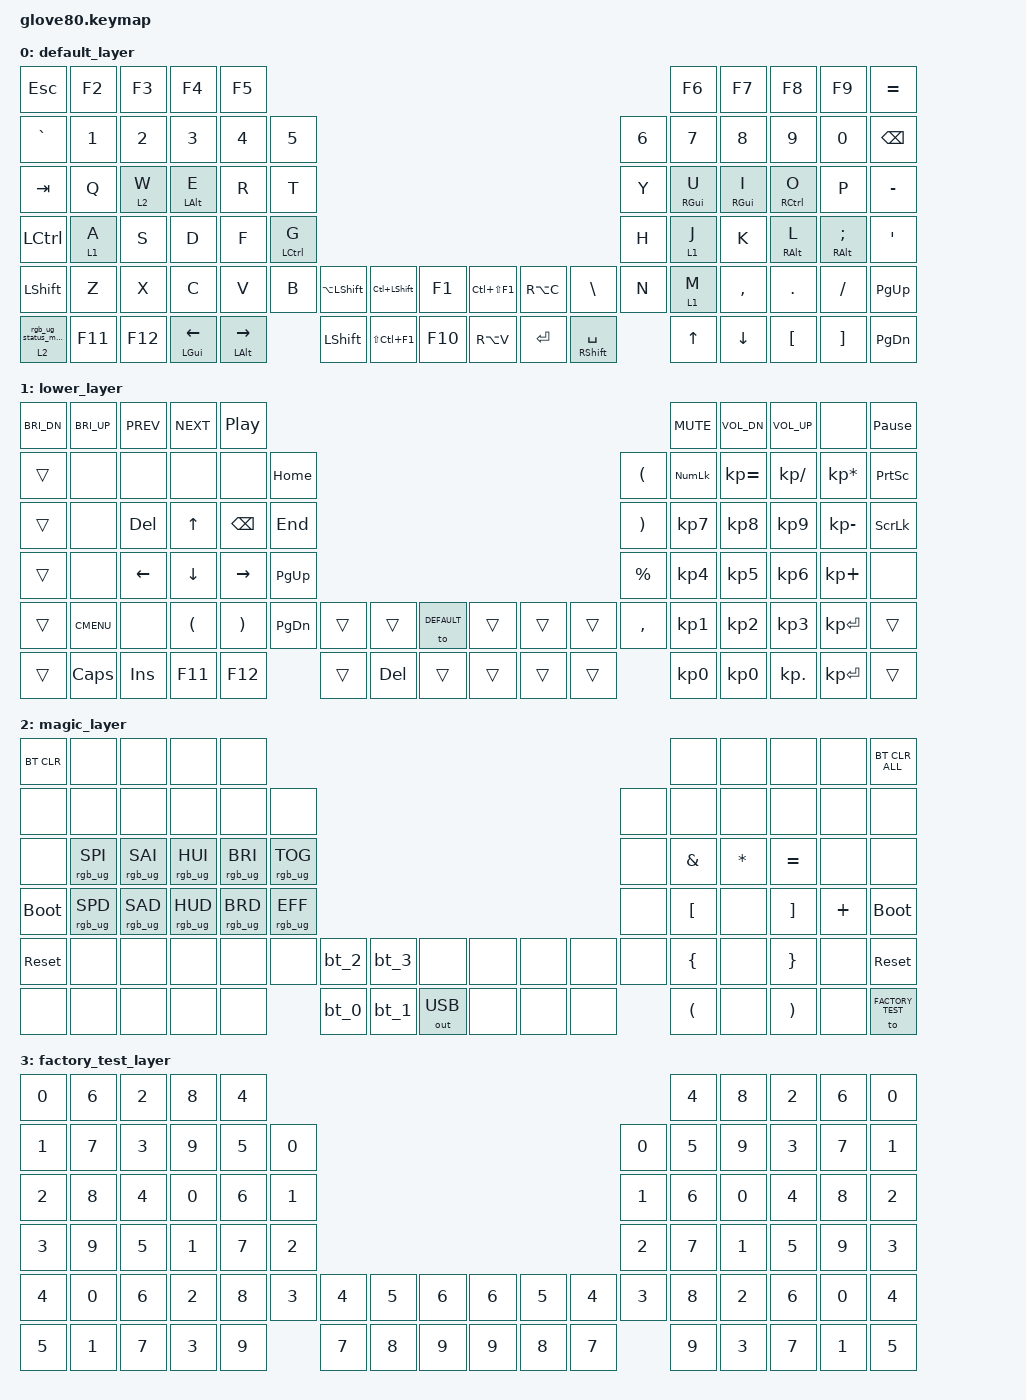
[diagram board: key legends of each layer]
/*
 * Copyright (c) 2020 The ZMK Contributors
 *
 * SPDX-License-Identifier: MIT
 */

#include <behaviors.dtsi>
#include <dt-bindings/zmk/bt.h>
#include <dt-bindings/zmk/keys.h>
#include <dt-bindings/zmk/outputs.h>
#include <dt-bindings/zmk/rgb.h>

#define HYPER LC(LS(LG(LALT)))

// layers

#define DEFAULT 0
#define LOWER 1
#define MAGIC 2
#define FACTORY_TEST 3

/ {
    behaviors {
        // For the "layer" key, it'd nice to be able to use it as either a shift or a toggle.
        // Configure it as a tap dance, so the first tap (or hold) is a &mo and the second tap is a &to

        layer_td: tap_dance_0 {
            compatible = "zmk,behavior-tap-dance";
            label = "LAYER_TAP_DANCE";
            #binding-cells = <0>;
            tapping-term-ms = <200>;
            bindings = <&mo LOWER>, <&to LOWER>;
        };

        magic: magic_hold_tap {
            compatible = "zmk,behavior-hold-tap";
            label = "MAGIC_HOLD_TAP";
            #binding-cells = <2>;
            flavor = "tap-preferred";
            tapping-term-ms = <200>;
            bindings = <&mo>, <&rgb_ug_status_macro>;
        };

        hm: hm {
            compatible = "zmk,behavior-hold-tap";
            label = "HM";
            bindings = <&kp>, <&kp>;

            #binding-cells = <2>;
            tapping-term-ms = <200>;
            flavor = "tap-preferred";
            quick-tap-ms = <175>;
        };
    };

    macros {
        rgb_ug_status_macro: rgb_ug_status_macro_0 {
            label = "RGB_UG_STATUS";
            compatible = "zmk,behavior-macro";
            #binding-cells = <0>;
            bindings = <&rgb_ug RGB_STATUS>;
        };

        bt_0: bt_profile_macro_0 {
            label = "BT_0";
            compatible = "zmk,behavior-macro";
            #binding-cells = <0>;
            bindings = <&out OUT_BLE &bt BT_SEL 0>;
        };

        bt_1: bt_profile_macro_1 {
            label = "BT_1";
            compatible = "zmk,behavior-macro";
            #binding-cells = <0>;
            bindings = <&out OUT_BLE &bt BT_SEL 1>;
        };

        bt_2: bt_profile_macro_2 {
            label = "BT_2";
            compatible = "zmk,behavior-macro";
            #binding-cells = <0>;
            bindings = <&out OUT_BLE &bt BT_SEL 2>;
        };

        bt_3: bt_profile_macro_3 {
            label = "BT_3";
            compatible = "zmk,behavior-macro";
            #binding-cells = <0>;
            bindings = <&out OUT_BLE &bt BT_SEL 3>;
        };
    };

    keymap {
        compatible = "zmk,keymap";

        default_layer {
            // ---------------------------------------------------------------------------------------------------------------------------------
            // |  F1   |  F2 |  F3 |  F4  |  F5  |                                                               |  F6   |  F7   |  F8  |   F9  |  F10 |
            // |  =    |  1  |  2  |  3   |  4   |  5   |                                                 |  6   |   7   |   8   |  9   |   0   |   -  |
            // |  TAB  |  Q  |  W  |  E   |  R   |  T   |                                                 |  Y   |   U   |   I   |  O   |   P   |   \  |
            // |  ESC  |  A  |  S  |  D   |  F   |  G   |                                                 |  H   |   J   |   K   |  L   |   ;   |   '  |
            // |   `   |  Z  |  X  |  C   |  V   |  B   | LSHFT | LCTRL | LOWER | | LGUI  | RCTRL | RSHFT |  N   |   M   |   ,   |  .   |   /   | PGUP |
            // | MAGIC | HOME| END | LEFT | RIGHT|      | BSPC  | DEL   | LALT  | | RALT  | RET   | SPACE |      |  UP   | DOWN  |  [   |   ]   | PGDN |

            bindings = <
&kp ESC         &kp F2   &kp F3   &kp F4             &kp F5                                                                                                                            &kp F6      &kp F7           &kp F8               &kp F9              &kp EQUAL
&kp GRAVE       &kp N1   &kp N2   &kp N3             &kp N4          &kp N5                                                                                                    &kp N6  &kp N7      &kp N8           &kp N9               &kp N0              &kp BACKSPACE
&kp TAB         &kp Q    &lt 2 W  &hm LEFT_ALT E     &kp R           &kp T                                                                                                     &kp Y   &hm RGUI U  &hm RIGHT_GUI I  &hm RIGHT_CONTROL O  &kp P               &kp MINUS
&kp LCTRL       &lt 1 A  &kp S    &kp D              &kp F           &hm LEFT_CONTROL G                                                                                        &kp H   &lt 1 J     &kp K            &hm RIGHT_ALT L      &hm RIGHT_ALT SEMI  &kp SINGLE_QUOTE
&kp LEFT_SHIFT  &kp Z    &kp X    &kp C              &kp V           &kp B               &kp LA(LSHFT)   &kp LC(LSHFT)   &kp F1   &kp LC(LS(F1))  &kp RA(C)  &kp BACKSLASH     &kp N   &lt 1 M     &kp COMMA        &kp DOT              &kp FSLH            &kp PG_UP
&magic 2 0      &kp F11  &kp F12  &hm LEFT_GUI LEFT  &hm LALT RIGHT                      &kp LEFT_SHIFT  &kp LS(LC(F1))  &kp F10  &kp RA(V)       &kp ENTER  &hm RSHIFT SPACE          &kp UP      &kp DOWN         &kp LBKT             &kp RBKT            &kp PG_DN
            >;
        };

        lower_layer {
            bindings = <
&kp C_BRI_DN  &kp C_BRI_UP  &kp C_PREV  &kp C_NEXT            &kp C_PP                                                                                              &kp C_MUTE  &kp C_VOL_DN  &kp C_VOL_UP   &none            &kp PAUSE_BREAK
&trans        &none         &none       &none                 &none                  &kp HOME                                                            &kp LPAR   &kp KP_NUM  &kp KP_EQUAL  &kp KP_DIVIDE  &kp KP_MULTIPLY  &kp PSCRN
&trans        &none         &kp DELETE  &kp UP                &kp BACKSPACE          &kp END                                                             &kp RPAR   &kp KP_N7   &kp KP_N8     &kp KP_N9      &kp KP_MINUS     &kp SLCK
&trans        &none         &kp LEFT    &kp DOWN              &kp RIGHT              &kp PG_UP                                                           &kp PRCNT  &kp KP_N4   &kp KP_N5     &kp KP_N6      &kp KP_PLUS      &none
&trans        &kp K_CMENU   &none       &kp LEFT_PARENTHESIS  &kp RIGHT_PARENTHESIS  &kp PG_DN  &trans  &trans      &to DEFAULT  &trans  &trans  &trans  &kp COMMA  &kp KP_N1   &kp KP_N2     &kp KP_N3      &kp KP_ENTER     &trans
&trans        &kp CAPS      &kp INS     &kp F11               &kp F12                           &trans  &kp DELETE  &trans       &trans  &trans  &trans             &kp KP_N0   &kp KP_N0     &kp KP_DOT     &kp KP_ENTER     &trans
            >;
        };

        magic_layer {
            bindings = <
&bt BT_CLR   &none            &none            &none            &none                                                                                     &none                 &none         &none                  &none     &bt BT_CLR_ALL
&none        &none            &none            &none            &none            &none                                                             &none  &none                 &none         &none                  &none     &none
&none        &rgb_ug RGB_SPI  &rgb_ug RGB_SAI  &rgb_ug RGB_HUI  &rgb_ug RGB_BRI  &rgb_ug RGB_TOG                                                   &none  &kp AMPERSAND         &kp ASTERISK  &kp EQUAL              &none     &none
&bootloader  &rgb_ug RGB_SPD  &rgb_ug RGB_SAD  &rgb_ug RGB_HUD  &rgb_ug RGB_BRD  &rgb_ug RGB_EFF                                                   &none  &kp LEFT_BRACKET      &none         &kp RIGHT_BRACKET      &kp PLUS  &bootloader
&sys_reset   &none            &none            &none            &none            &none            &bt_2  &bt_3  &none         &none  &none  &none  &none  &kp LEFT_BRACE        &none         &kp RIGHT_BRACE        &none     &sys_reset
&none        &none            &none            &none            &none                             &bt_0  &bt_1  &out OUT_USB  &none  &none  &none         &kp LEFT_PARENTHESIS  &none         &kp RIGHT_PARENTHESIS  &none     &to FACTORY_TEST
            >;
        };

        factory_test_layer {
            bindings = <
&kp N0  &kp N6  &kp N2  &kp N8  &kp N4                                                                  &kp N4  &kp N8  &kp N2  &kp N6  &kp N0
&kp N1  &kp N7  &kp N3  &kp N9  &kp N5  &kp N0                                                  &kp N0  &kp N5  &kp N9  &kp N3  &kp N7  &kp N1
&kp N2  &kp N8  &kp N4  &kp N0  &kp N6  &kp N1                                                  &kp N1  &kp N6  &kp N0  &kp N4  &kp N8  &kp N2
&kp N3  &kp N9  &kp N5  &kp N1  &kp N7  &kp N2                                                  &kp N2  &kp N7  &kp N1  &kp N5  &kp N9  &kp N3
&kp N4  &kp N0  &kp N6  &kp N2  &kp N8  &kp N3  &kp N4  &kp N5  &kp N6  &kp N6  &kp N5  &kp N4  &kp N3  &kp N8  &kp N2  &kp N6  &kp N0  &kp N4
&kp N5  &kp N1  &kp N7  &kp N3  &kp N9          &kp N7  &kp N8  &kp N9  &kp N9  &kp N8  &kp N7          &kp N9  &kp N3  &kp N7  &kp N1  &kp N5
            >;
        };
    };
};
